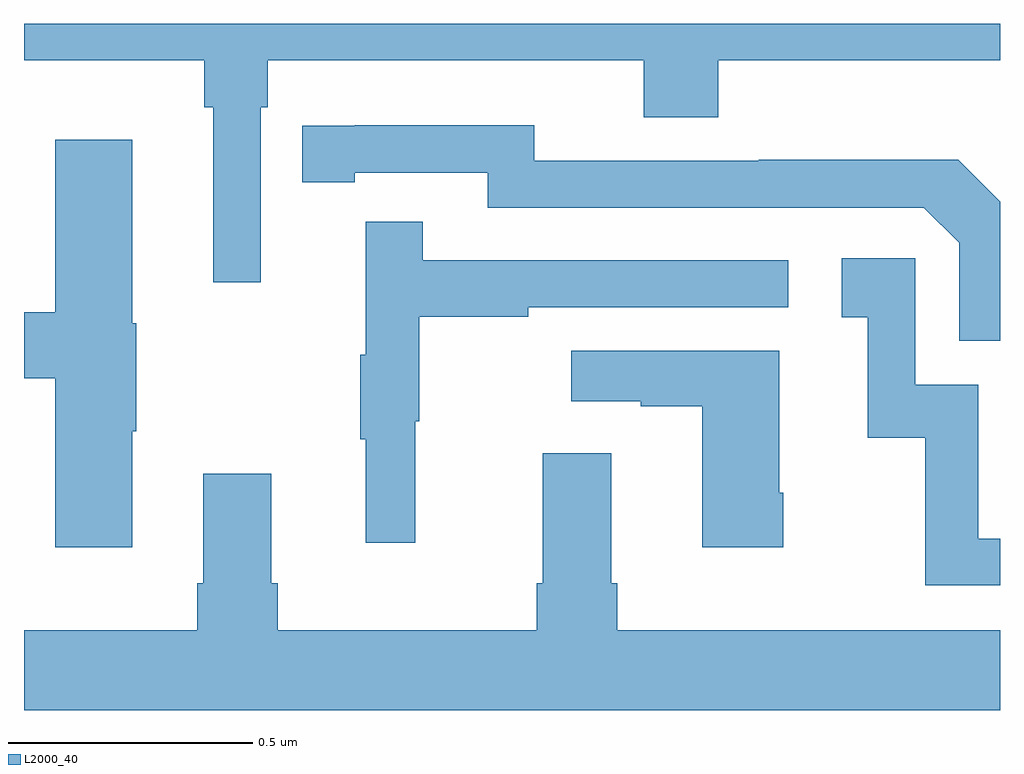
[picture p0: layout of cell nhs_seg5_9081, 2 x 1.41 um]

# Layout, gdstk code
import gdstk
lib = gdstk.Library(unit=1e-6, precision=1e-09)
def P(c, l, *ps):  # polygons
    for p in ps: c.add(gdstk.Polygon(p, *l))
L2000_40 = (2000, 40)

nhs_seg5_9081 = lib.new_cell('nhs_seg5_9081')
P(nhs_seg5_9081, L2000_40, [(229.485,892.628),(229.499,892.628),(229.499,892.724),(230.27,892.724),(230.27,892.607),(230.423,892.607),(230.423,892.724),(231,892.724),(231,892.799),(229,892.799),(229,892.724),(229.369,892.724),(229.369,892.628),(229.388,892.628),(229.388,892.269),(229.485,892.269)],
  [(231,892.434),(230.914,892.52),(230.506,892.52),(230.506,892.518),(230.046,892.518),(230.046,892.591),(229.678,892.591),(229.678,892.59),(229.57,892.59),(229.57,892.474),(229.678,892.474),(229.678,892.494),(229.95,892.494),(229.95,892.422),(230.844,892.422),(230.916,892.35),(230.916,892.149),(231,892.149)],
  [(229.222,891.964),(229.23,891.964),(229.23,892.185),(229.222,892.185),(229.222,892.561),(229.064,892.561),(229.064,892.208),(229,892.208),(229,892.072),(229.064,892.072),(229.064,891.726),(229.222,891.726)],
  [(229.802,891.984),(229.81,891.984),(229.81,892.198),(230.033,892.198),(230.033,892.218),(230.566,892.218),(230.566,892.314),(229.817,892.314),(229.817,892.393),(229.7,892.393),(229.7,892.121),(229.689,892.121),(229.689,891.947),(229.7,891.947),(229.7,891.735),(229.802,891.735)],
  [(231,891.744),(230.955,891.744),(230.955,892.059),(230.826,892.059),(230.826,892.318),(230.676,892.318),(230.676,892.197),(230.729,892.197),(230.729,891.951),(230.847,891.951),(230.847,891.648),(231,891.648)],
  [(230.556,891.838),(230.548,891.838),(230.548,892.129),(230.121,892.129),(230.121,892.025),(230.264,892.025),(230.264,892.015),(230.39,892.015),(230.39,891.726),(230.556,891.726)],
  [(231,891.556),(230.216,891.556),(230.216,891.652),(230.203,891.652),(230.203,891.919),(230.063,891.919),(230.063,891.652),(230.051,891.652),(230.051,891.556),(229.52,891.556),(229.52,891.652),(229.507,891.652),(229.507,891.877),(229.367,891.877),(229.367,891.652),(229.355,891.652),(229.355,891.556),(229,891.556),(229,891.392),(231,891.392)])

lib.write_gds('nhs_seg5_9081.gds')
